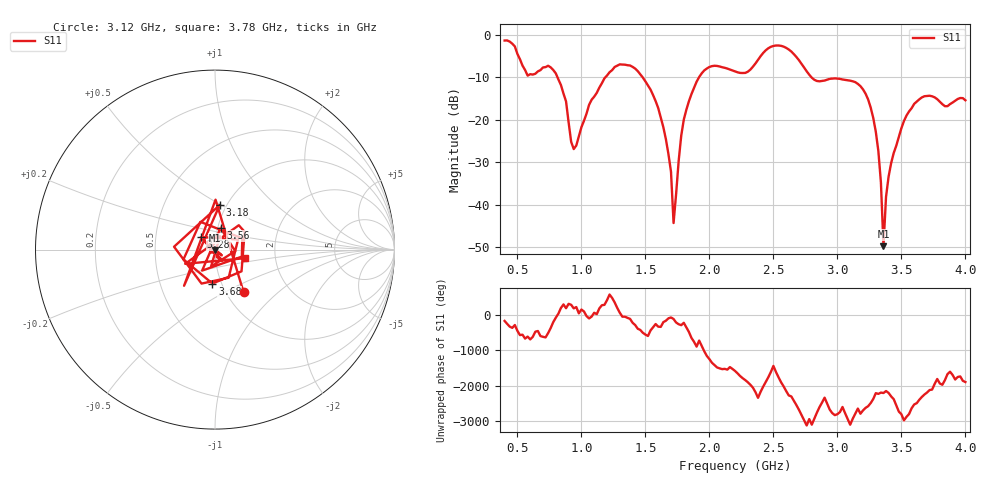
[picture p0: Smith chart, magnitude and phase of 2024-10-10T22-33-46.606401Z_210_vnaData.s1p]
! Created with skrf (http://scikit-rf.org).
# Hz S RI R 50.0
!freq ReS11 ImS11
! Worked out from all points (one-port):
!   181 points, 400 MHz to 4 GHz, reference 50 ohm
!   lowest |S11| = -49.8 dB at 3.36 GHz (marker M1), VSWR 1.01, Z = 50.2 - j0.258 ohm
!   |S11| at or under -10 dB: 813.6 MHz to 1.186 GHz (372.8 MHz wide, 37.3 % of centre); 1.479 GHz to 1.918 GHz (438.9 MHz wide, 25.8 % of centre); 2.798 GHz to end of sweep
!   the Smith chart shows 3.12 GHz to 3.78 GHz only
!   S11 on the Smith chart (normalised r, x): 3.12 GHz: 1.20, -0.62; 3.18 GHz: 0.93, +0.49; 3.28 GHz: 0.85, +0.12; 3.56 GHz: 1.03, +0.26; 3.68 GHz: 0.91, -0.36; 3.78 GHz: 1.40, -0.14
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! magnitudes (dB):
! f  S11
! 400 MHz  -1.3
! 580 MHz  -9.6
! 760 MHz  -7.6
! 860 MHz  -13.8
! 940 MHz  -26.9
! 1.08 GHz  -15.2
! 1.3 GHz  -6.9
! 1.6 GHz  -17.2
! 1.7 GHz  -32.2
! 1.72 GHz  -44.3
! 1.76 GHz  -29.6
! 1.8 GHz  -19.9
! 1.92 GHz  -9.9
! 2.2 GHz  -8.6
! 2.66 GHz  -4.5
! 2.82 GHz  -10.6
! 3.1 GHz  -10.8
! 3.12 GHz  -10.9
! 3.18 GHz  -12.0
! 3.28 GHz  -19.5
! 3.34 GHz  -34.7
! 3.36 GHz  -49.8
! 3.38 GHz  -38.1
! 3.42 GHz  -30.2
! 3.56 GHz  -18.0
! 3.68 GHz  -14.4
! 3.78 GHz  -15.1
! 4 GHz  -15.4
